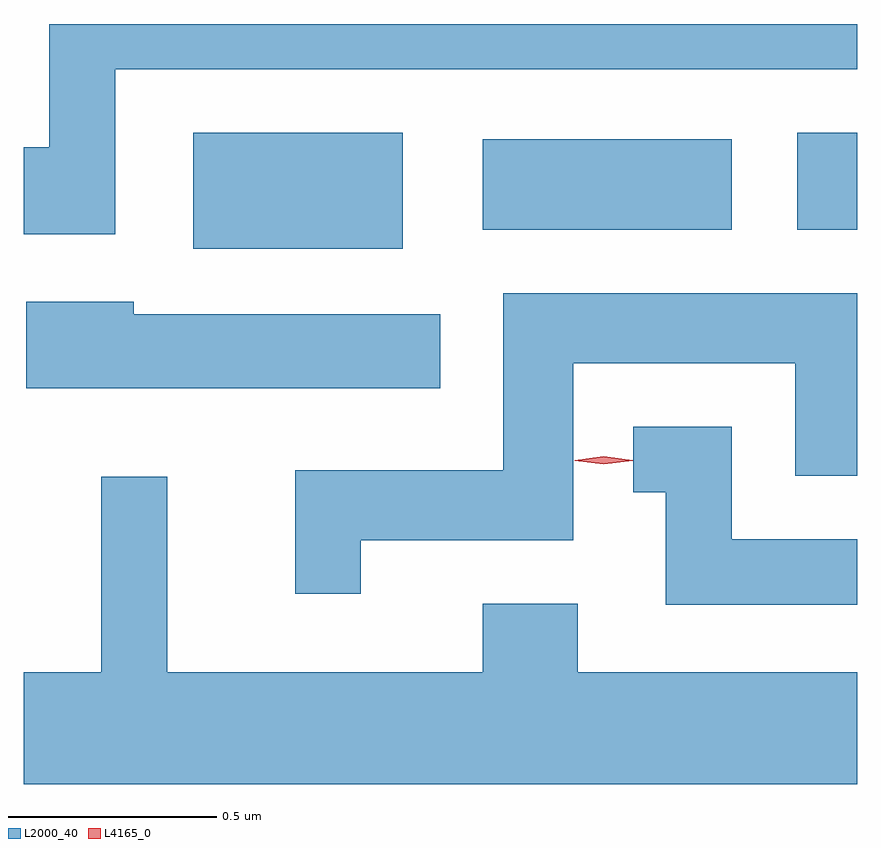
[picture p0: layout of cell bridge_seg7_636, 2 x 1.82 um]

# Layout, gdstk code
import gdstk
lib = gdstk.Library(unit=1e-6, precision=1e-09)
def R(c, l, rs):  # rectangles x0, y0, x1, y1
    for r in rs: c.add(gdstk.rectangle(r[:2], r[2:], *l))
def P(c, l, *ps):  # polygons
    for p in ps: c.add(gdstk.Polygon(p, *l))
L2000_40 = (2000, 40)
L4165_0 = (4165, 0)

bridge_seg7_636 = lib.new_cell('bridge_seg7_636')
R(bridge_seg7_636, L2000_40, [(798.046,1715.601,798.549,1715.879), (798.741,1715.646,799.339,1715.864), (799.496,1715.646,799.64,1715.879)])
P(bridge_seg7_636, L2000_40, [(797.859,1716.031),(799.64,1716.031),(799.64,1716.14),(797.701,1716.14),(797.701,1715.844),(797.64,1715.844),(797.64,1715.636),(797.859,1715.636)],
  [(798.449,1714.901),(798.959,1714.901),(798.959,1715.326),(799.491,1715.326),(799.491,1715.056),(799.64,1715.056),(799.64,1715.494),(798.791,1715.494),(798.791,1715.069),(798.291,1715.069),(798.291,1714.773),(798.449,1714.773)],
  [(798.639,1715.444),(797.904,1715.444),(797.904,1715.474),(797.646,1715.474),(797.646,1715.266),(798.639,1715.266)],
  [(799.64,1714.904),(799.339,1714.904),(799.339,1715.174),(799.103,1715.174),(799.103,1715.016),(799.181,1715.016),(799.181,1714.746),(799.64,1714.746)],
  [(799.64,1714.584),(798.969,1714.584),(798.969,1714.749),(798.741,1714.749),(798.741,1714.584),(797.984,1714.584),(797.984,1715.053),(797.826,1715.053),(797.826,1714.584),(797.64,1714.584),(797.64,1714.316),(799.64,1714.316)])
P(bridge_seg7_636, L4165_0, [(799.032,1715.083),(798.962,1715.092),(798.962,1715.093),(798.962,1715.093),(799.032,1715.103),(799.101,1715.093),(799.101,1715.093),(799.101,1715.092)])

lib.write_gds('bridge_seg7_636.gds')
